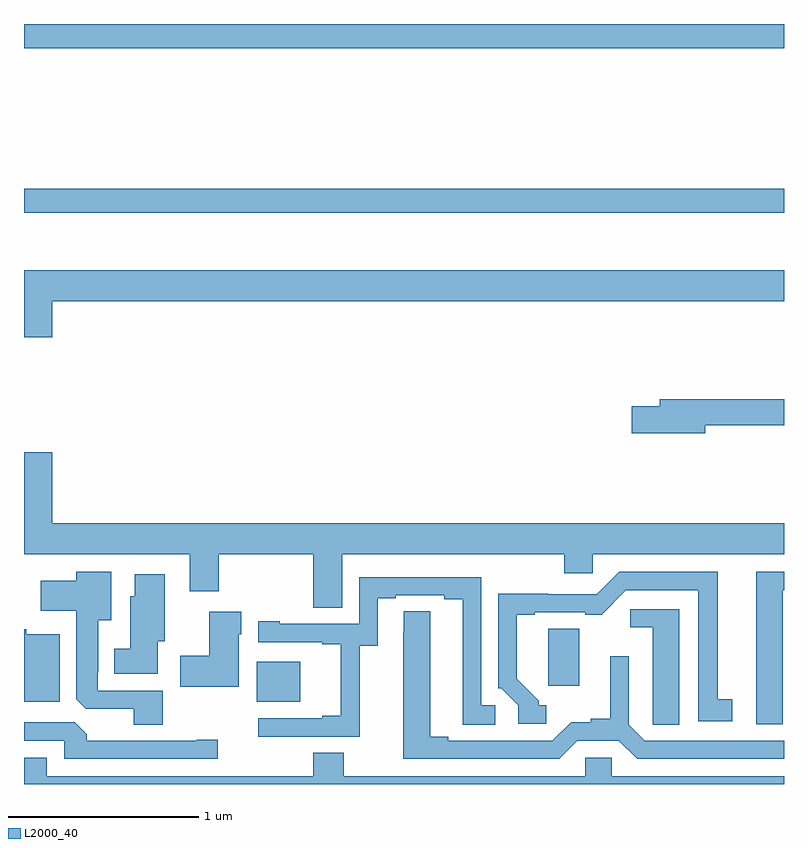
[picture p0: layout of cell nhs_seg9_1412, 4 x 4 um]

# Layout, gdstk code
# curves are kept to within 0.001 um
import gdstk
lib = gdstk.Library(unit=1e-6, precision=1e-09)
def R(c, l, rs):  # rectangles x0, y0, x1, y1
    for r in rs: c.add(gdstk.rectangle(r[:2], r[2:], *l))
def P(c, l, *ps):  # polygons
    for p in ps: c.add(gdstk.Polygon(p, *l))
L2000_40 = (2000, 40)

nhs_seg9_1412 = lib.new_cell('nhs_seg9_1412')
R(nhs_seg9_1412, L2000_40, [(190.226,1240.934,190.453,1241.143), (189,1243.506,193,1243.634), (189,1244.372,193,1244.5)])
P(nhs_seg9_1412, L2000_40, [(189.148,1243.04),(193,1243.04),(193,1243.204),(189,1243.204),(189,1242.852),(189.148,1242.852)],
  [(192.586,1242.388),(193,1242.388),(193,1242.524),(192.347,1242.524),(192.347,1242.488),(192.198,1242.488),(192.198,1242.346),(192.586,1242.346)],
  [(190.675,1241.708),(191.843,1241.708),(191.843,1241.61),(191.994,1241.61),(191.994,1241.708),(193,1241.708),(193,1241.872),(189.148,1241.872),(189.148,1242.247),(189,1242.247),(189,1241.708),(189.872,1241.708),(189.872,1241.514),(190.025,1241.514),(190.025,1241.708),(190.523,1241.708),(190.523,1241.428),(190.675,1241.428)],
  [(189.731,1240.992),(189.387,1240.992),(189.387,1241.089),(189.391,1241.089),(189.391,1241.363),(189.46,1241.363),(189.46,1241.617),(189.275,1241.617),(189.275,1241.569),(189.087,1241.569),(189.087,1241.411),(189.275,1241.411),(189.275,1240.945),(189.324,1240.896),(189.578,1240.896),(189.578,1240.813),(189.731,1240.813)],
  [(192.994,1241.52),(193,1241.52),(193,1241.616),(192.854,1241.616),(192.854,1240.815),(192.994,1240.815)],
  [(191.749,1240.914),(191.71,1240.914),(191.71,1240.938),(191.593,1241.054),(191.593,1241.391),(191.689,1241.391),(191.689,1241.403),(191.954,1241.403),(191.954,1241.392),(192.04,1241.392),(192.168,1241.52),(192.548,1241.52),(192.548,1240.83),(192.727,1240.83),(192.727,1240.946),(192.652,1240.946),(192.652,1241.616),(192.132,1241.616),(192.015,1241.499),(191.759,1241.499),(191.759,1241.501),(191.496,1241.501),(191.496,1241.004),(191.511,1241.004),(191.601,1240.914),(191.601,1240.818),(191.749,1240.818)],
  [(189.703,1241.252),(189.742,1241.252),(189.742,1241.605),(189.584,1241.605),(189.584,1241.487),(189.56,1241.487),(189.56,1241.212),(189.476,1241.212),(189.476,1241.081),(189.703,1241.081)],
  [(190.767,1241.227),(190.861,1241.227),(190.861,1241.478),(190.957,1241.478),(190.957,1241.493),(191.213,1241.493),(191.213,1241.473),(191.309,1241.473),(191.309,1240.813),(191.479,1240.813),(191.479,1240.914),(191.406,1240.914),(191.406,1241.589),(190.764,1241.589),(190.764,1241.343),(190.345,1241.343),(190.345,1241.356),(190.233,1241.356),(190.233,1241.247),(190.571,1241.247),(190.571,1241.235),(190.667,1241.235),(190.667,1240.858),(190.571,1240.858),(190.571,1240.845),(190.233,1240.845),(190.233,1240.749),(190.767,1240.749)],
  [(192.448,1241.421),(192.192,1241.421),(192.192,1241.324),(192.308,1241.324),(192.308,1240.921),(192.309,1240.921),(192.309,1240.813),(192.448,1240.813)],
  [(191.913,1240.728),(192.131,1240.728),(192.227,1240.632),(193,1240.632),(193,1240.728),(192.267,1240.728),(192.183,1240.812),(192.183,1241.173),(192.086,1241.173),(192.086,1240.844),(191.982,1240.844),(191.982,1240.826),(191.879,1240.826),(191.781,1240.728),(191.233,1240.728),(191.233,1240.748),(191.137,1240.748),(191.137,1241.408),(190.998,1241.408),(190.997,1240.632),(191.817,1240.632)],
  [(190.129,1241.289),(190.144,1241.289),(190.144,1241.407),(189.974,1241.407),(189.974,1241.175),(189.822,1241.175),(189.822,1241.012),(190.129,1241.012)],
  [(191.923,1241.16),(191.922,1241.16),(191.922,1241.318),(191.759,1241.318),(191.759,1241.016),(191.923,1241.016)],
  [(189.187,1241.287),(189.012,1241.287),(189.012,1241.314),(189,1241.314),(189,1240.934),(189.187,1240.934)],
  [(190.021,1240.733),(189.908,1240.733),(189.908,1240.728),(189.329,1240.728),(189.329,1240.762),(189.267,1240.824),(189,1240.824),(189,1240.728),(189.213,1240.728),(189.213,1240.632),(190.021,1240.632)],
  [(193,1240.54),(192.093,1240.54),(192.093,1240.638),(191.955,1240.638),(191.955,1240.54),(190.683,1240.54),(190.683,1240.664),(190.523,1240.664),(190.523,1240.54),(189.121,1240.54),(189.121,1240.639),(189,1240.639),(189,1240.5),(193,1240.5)])

lib.write_gds('nhs_seg9_1412.gds')
